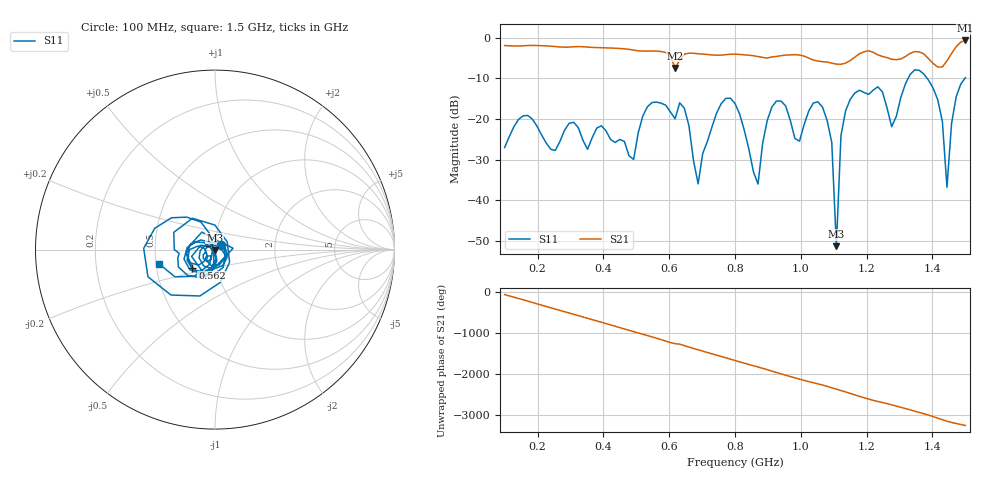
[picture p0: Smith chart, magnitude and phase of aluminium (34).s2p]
! NanoVNA-App
! Date: 2025-09-25 14:55:32
! Start: 100MHz Stop: 1,5GHz Points: 101
! S-Parameter data: F S11 S21 S12 S22
# Hz S RI R 50
!  Frequency  S11_Real  S11_Imag  S21_Real  S21_Imag  S12_Real  S12_Imag  S22_Real  S22_Imag
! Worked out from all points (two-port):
!   101 points, 100 MHz to 1.5 GHz, reference 50 ohm
!   highest |S21| = -0.67 dB at 1.5 GHz (marker M1); lowest = -7.4 dB at 618 MHz (marker M2)
!   |S21| within 3 dB of the highest: start of sweep to 590.6 MHz; 1.186 GHz to 1.222 GHz (35.7 MHz wide, 2.97 % of centre) (the widest 2 of 4)
!   lowest |S11| = -51.3 dB at 1.108 GHz (marker M3), VSWR 1.01, Z = 49.9 - j0.253 ohm
!   |S11| at or under -10 dB: start of sweep to 1.326 GHz; 1.384 GHz to 1.499 GHz (114.8 MHz wide, 7.97 % of centre)
!   S12 and S22 are empty: the file has one direction only
!   S11 on the Smith chart (normalised r, x): 100 MHz: 1.07, +0.06; 562 MHz: 0.76, -0.16; 1.5 GHz: 0.52, -0.09
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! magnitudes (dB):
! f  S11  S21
! 100 MHz  -27.0  -1.9
! 338 MHz  -25.2  -2.2
! 492 MHz  -29.9  -3.1
! 562 MHz  -15.8  -3.3
! 576 MHz  -16.1  -3.4
! 618 MHz  -19.9  -7.4
! 646 MHz  -17.3  -4.0
! 688 MHz  -35.9  -3.9
! 800 MHz  -16.2  -4.0
! 870 MHz  -36.0  -4.6
! 912 MHz  -17.1  -4.7
! 996 MHz  -25.4  -4.2
! 1.038 GHz  -16.1  -5.5
! 1.094 GHz  -25.8  -6.3
! 1.108 GHz  -51.3  -6.5
! 1.122 GHz  -24.0  -6.5
! 1.15 GHz  -15.2  -5.6
! 1.276 GHz  -21.9  -5.3
! 1.374 GHz  -9.0  -4.0
! 1.43 GHz  -20.6  -7.2
! 1.444 GHz  -36.8  -5.7
! 1.5 GHz  -9.8  -0.7
